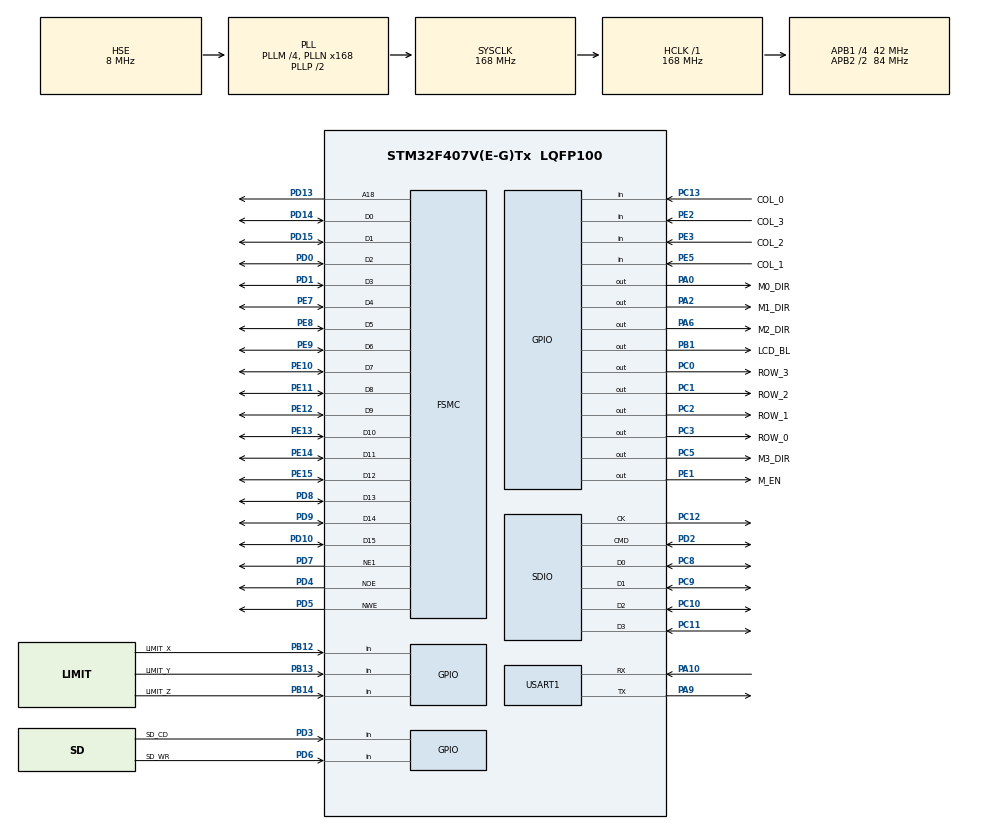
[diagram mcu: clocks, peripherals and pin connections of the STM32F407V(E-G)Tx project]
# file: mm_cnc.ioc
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FATFS.BSP.number=1
FATFS0.BSP.STBoard=false
FATFS0.BSP.api=Unknown
FATFS0.BSP.i2caddr=0
FATFS0.BSP.instance=PD3
FATFS0.BSP.ip=GPIO
FATFS0.BSP.mode=Input
FATFS0.BSP.name=Detect_SDIO
FATFS0.BSP.solution=PD3
Mcu.Family=STM32F4
Mcu.Name=STM32F407V(E-G)Tx
Mcu.Package=LQFP100
NVIC.PriorityGroup=NVIC_PRIORITYGROUP_4
NVIC.RCC_IRQn=true\:0\:0\:false\:false\:true\:true\:false
NVIC.SDIO_IRQn=true\:0\:0\:false\:false\:true\:true\:true
NVIC.TIM2_IRQn=true\:0\:0\:false\:false\:true\:true\:true
NVIC.TIM3_IRQn=true\:0\:0\:false\:false\:true\:true\:true
NVIC.TIM4_IRQn=true\:0\:0\:false\:false\:true\:true\:true
NVIC.TIM5_IRQn=true\:0\:0\:false\:false\:true\:true\:true
NVIC.USART1_IRQn=true\:0\:0\:false\:false\:true\:true\:true
PA0-WKUP.GPIO_Label=M0_DIR
PA0-WKUP.Signal=GPIO_Output
PA1.GPIO_Label=M0_STEP
PA1.Signal=S_TIM5_CH2
PA10.Mode=Asynchronous
PA10.Signal=USART1_RX
PA13.Mode=JTAG_5_pins
PA13.Signal=SYS_JTMS-SWDIO
PA14.Mode=JTAG_5_pins
PA14.Signal=SYS_JTCK-SWCLK
PA15.Mode=JTAG_5_pins
PA15.Signal=SYS_JTDI
PA2.GPIO_Label=M1_DIR
PA2.Signal=GPIO_Output
PA3.GPIO_Label=M1_STEP
PA3.Signal=S_TIM9_CH2
PA6.GPIO_Label=M2_DIR
PA6.GPIO_PuPd=GPIO_NOPULL
PA6.PinState=GPIO_PIN_RESET
PA6.Signal=GPIO_Output
PA7.GPIO_Label=M2_STEP
PA7.Signal=S_TIM14_CH1
PA9.Mode=Asynchronous
PA9.Signal=USART1_TX
PB0.GPIO_Label=M3_STEP
PB0.Signal=S_TIM3_CH3
PB1.GPIO_Label=LCD_BL
PB1.GPIO_PuPd=GPIO_PULLUP
PB1.GPIO_Speed=GPIO_SPEED_FREQ_MEDIUM
PB1.PinState=GPIO_PIN_SET
PB1.Signal=GPIO_Output
PB12.GPIO_Label=LIMIT_X
PB12.GPIO_PuPd=GPIO_PULLDOWN
PB12.Signal=GPIO_Input
PB13.GPIO_Label=LIMIT_Y
PB13.GPIO_PuPd=GPIO_PULLDOWN
PB13.Signal=GPIO_Input
PB14.GPIO_Label=LIMIT_Z
PB14.GPIO_PuPd=GPIO_PULLDOWN
PB14.Signal=GPIO_Input
PB3.Mode=JTAG_5_pins
PB3.Signal=SYS_JTDO-SWO
PB4.Mode=JTAG_5_pins
PB4.Signal=SYS_JTRST
PC0.GPIO_Label=ROW_3
PC0.Signal=GPIO_Output
PC1.GPIO_Label=ROW_2
PC1.Signal=GPIO_Output
PC10.Mode=SD_4_bits_Wide_bus
PC10.Signal=SDIO_D2
PC11.Mode=SD_4_bits_Wide_bus
PC11.Signal=SDIO_D3
PC12.Mode=SD_4_bits_Wide_bus
PC12.Signal=SDIO_CK
PC13-ANTI_TAMP.GPIO_Label=COL_0
PC13-ANTI_TAMP.GPIO_PuPd=GPIO_PULLDOWN
PC13-ANTI_TAMP.Signal=GPIO_Input
PC14-OSC32_IN.Mode=LSE-External-Oscillator
PC14-OSC32_IN.Signal=RCC_OSC32_IN
PC15-OSC32_OUT.Mode=LSE-External-Oscillator
PC15-OSC32_OUT.Signal=RCC_OSC32_OUT
PC2.GPIO_Label=ROW_1
PC2.Signal=GPIO_Output
PC3.GPIO_Label=ROW_0
PC3.Signal=GPIO_Output
PC5.GPIO_Label=M3_DIR
PC5.Signal=GPIO_Output
PC8.Mode=SD_4_bits_Wide_bus
PC8.Signal=SDIO_D0
PC9.Mode=SD_4_bits_Wide_bus
PC9.Signal=SDIO_D1
PD0.Mode=16b-d1
PD0.Signal=FSMC_D2
PD1.Mode=16b-d1
PD1.Signal=FSMC_D3
PD10.Mode=16b-d1
PD10.Signal=FSMC_D15
PD13.Mode=A18_1
PD13.Signal=FSMC_A18
PD14.Mode=16b-d1
PD14.Signal=FSMC_D0
PD15.Mode=16b-d1
PD15.Signal=FSMC_D1
PD2.Mode=SD_4_bits_Wide_bus
PD2.Signal=SDIO_CMD
PD3.GPIO_Label=SD_CD
PD3.GPIO_PuPd=GPIO_PULLDOWN
PD3.Signal=GPIO_Input
PD4.Mode=Lcd1
PD4.Signal=FSMC_NOE
PD5.Mode=Lcd1
PD5.Signal=FSMC_NWE
PD6.GPIO_Label=SD_WR
PD6.Signal=GPIO_Input
PD7.Mode=NorPsramChipSelect1_1
PD7.Signal=FSMC_NE1
PD8.Mode=16b-d1
PD8.Signal=FSMC_D13
PD9.Mode=16b-d1
PD9.Signal=FSMC_D14
PE1.GPIO_Label=M_EN
PE1.Signal=GPIO_Output
PE10.Mode=16b-d1
PE10.Signal=FSMC_D7
PE11.Mode=16b-d1
PE11.Signal=FSMC_D8
PE12.Mode=16b-d1
PE12.Signal=FSMC_D9
PE13.Mode=16b-d1
PE13.Signal=FSMC_D10
PE14.Mode=16b-d1
PE14.Signal=FSMC_D11
PE15.Mode=16b-d1
PE15.Signal=FSMC_D12
PE2.GPIO_Label=COL_3
PE2.GPIO_PuPd=GPIO_PULLDOWN
PE2.Signal=GPIO_Input
PE3.GPIO_Label=COL_2
PE3.GPIO_PuPd=GPIO_PULLDOWN
PE3.Signal=GPIO_Input
PE5.GPIO_Label=COL_1
PE5.GPIO_PuPd=GPIO_PULLDOWN
PE5.Signal=GPIO_Input
PE7.Mode=16b-d1
PE7.Signal=FSMC_D4
PE8.Mode=16b-d1
PE8.Signal=FSMC_D5
PE9.Mode=16b-d1
PE9.Signal=FSMC_D6
PH0-OSC_IN.Mode=HSE-External-Oscillator
PH0-OSC_IN.Signal=RCC_OSC_IN
PH1-OSC_OUT.Mode=HSE-External-Oscillator
PH1-OSC_OUT.Signal=RCC_OSC_OUT
ProjectManager.HeapSize=0x200
ProjectManager.StackSize=0x400
ProjectManager.TargetToolchain=STM32CubeIDE
RCC.48MHZClocksFreq_Value=48000000
RCC.AHBFreq_Value=168000000
RCC.APB1CLKDivider=RCC_HCLK_DIV4
RCC.APB1Freq_Value=42000000
RCC.APB1TimFreq_Value=84000000
RCC.APB2CLKDivider=RCC_HCLK_DIV2
RCC.APB2Freq_Value=84000000
RCC.APB2TimFreq_Value=168000000
RCC.CortexFreq_Value=168000000
RCC.HCLKFreq_Value=168000000
RCC.HSE_VALUE=8000000
RCC.HSI_VALUE=16000000
RCC.PLLM=4
RCC.PLLN=168
RCC.PLLQ=7
RCC.PLLSourceVirtual=RCC_PLLSOURCE_HSE
RCC.SYSCLKFreq_VALUE=168000000
RCC.SYSCLKSource=RCC_SYSCLKSOURCE_PLLCLK
RCC.VCOOutputFreq_Value=336000000
RTC.Month=RTC_MONTH_OCTOBER
RTC.WeekDay=RTC_WEEKDAY_TUESDAY
RTC.Year=19
SH.S_TIM14_CH1.0=TIM14_CH1
SH.S_TIM3_CH3.0=TIM3_CH3
SH.S_TIM5_CH2.0=TIM5_CH2
SH.S_TIM9_CH2.0=TIM9_CH2
TIM2.AutoReloadPreload=TIM_AUTORELOAD_PRELOAD_ENABLE
TIM2.Period=100
TIM2.Prescaler=1799
TIM3.AutoReloadPreload=TIM_AUTORELOAD_PRELOAD_ENABLE
TIM3.Period=100
TIM3.Prescaler=1799
TIM4.AutoReloadPreload=TIM_AUTORELOAD_PRELOAD_ENABLE
TIM4.Period=100
TIM4.Prescaler=1799
TIM5.AutoReloadPreload=TIM_AUTORELOAD_PRELOAD_ENABLE
TIM5.Period=100
TIM5.Prescaler=1799
USART1.VirtualMode=VM_ASYNC
VP_FATFS_VS_SDIO.Mode=SDIO
VP_RTC_VS_RTC_Activate.Mode=RTC_Enabled
VP_RTC_VS_RTC_Calendar.Mode=RTC_Calendar
VP_TIM2_VS_ClockSourceINT.Mode=Internal
VP_TIM3_VS_ClockSourceINT.Mode=Internal
VP_TIM4_VS_ClockSourceINT.Mode=Internal
VP_TIM5_VS_ClockSourceINT.Mode=Internal
board=custom

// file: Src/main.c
/* USER CODE BEGIN Header */
/**
  ******************************************************************************
  * @file           : main.c
  * @brief          : Main program body
  ******************************************************************************
  * @attention
  *
  * <h2><center>&copy; Copyright (c) 2019 STMicroelectronics.
  * All rights reserved.</center></h2>
  *
  * This software component is licensed by ST under BSD 3-Clause license,
  * the "License"; You may not use this file except in compliance with the
  * License. You may obtain a copy of the License at:
  *                        opensource.org/licenses/BSD-3-Clause
  *
  ******************************************************************************
  */
/* USER CODE END Header */

#include "main.h"
#include "fatfs.h"
#include "rtc.h"
#include "sdio.h"
#include "tim.h"
#include "usart.h"
#include "gpio.h"
#include "fsmc.h"

/* USER CODE BEGIN Includes */
#include <string.h>
#include "global.h"
/* USER CODE END Includes */

/* USER CODE BEGIN PD */
#define CONF_FILE_NAME "sm.conf"

#define MAX_FILE_LIST_SZ 256
#define MAX_FILE_NAME_SZ 80

#define FILE_LIST_ROWS 8
#define L_LED_X 286
#define L_LED_Y 226
#define L_LED_W 6
#define L_LED_H 7
/* USER CODE END PD */

/* USER CODE BEGIN PV */
static char fileList[MAX_FILE_LIST_SZ][MAX_FILE_NAME_SZ], loadedFileName[MAX_FILE_NAME_SZ];
static int fileListSz = 0, curFile = 0, firstFileInWin = 0;
static FATFS fatfs;
//FLASH_VALUES commonValues;

uint8_t usb_sts = 0; // TODO переделать когда будет usb
/* USER CODE END PV */

void SystemClock_Config(void);

/* USER CODE BEGIN 0 */
char *str_trim(char *str) {
	for(int n = 0; str[n] != 0; n++) {
		if(str[n] == '\n' || str[n] == '\r') {
			str[n] = 0; break;
		}
	}
	return str;
}

static void initSmParam(int8_t isSaveFile) {
	_smParam.smoothStartF_from0[0] = SM_SMOOTH_START_X*K_FRQ;
	_smParam.smoothStartF_from0[1] = SM_SMOOTH_START_Y*K_FRQ;
	_smParam.smoothStartF_from0[2] =  SM_SMOOTH_START_Z*K_FRQ;
	_smParam.smoothStopF_to0[0] = SM_SMOOTH_STOP_X*K_FRQ;
	_smParam.smoothStopF_to0[1] = SM_SMOOTH_STOP_Y*K_FRQ;
	_smParam.smoothStopF_to0[2] = SM_SMOOTH_STOP_Z*K_FRQ;
	_smParam.smoothAF[0]= SM_SMOOTH_DFEED_X*SM_X_STEPS_PER_MM*SM_SMOOTH_TFEED*K_FRQ/1000;
	_smParam.smoothAF[1]= SM_SMOOTH_DFEED_Y*SM_Y_STEPS_PER_MM*SM_SMOOTH_TFEED*K_FRQ/1000;
	_smParam.smoothAF[2]= SM_SMOOTH_DFEED_Z*SM_Z_STEPS_PER_MM*SM_SMOOTH_TFEED/1000*K_FRQ;
	_smParam.maxFeedRate[0] = SM_X_MAX_STEPS_PER_SEC*K_FRQ;
	_smParam.maxFeedRate[1] = SM_Y_MAX_STEPS_PER_SEC*K_FRQ;
	_smParam.maxFeedRate[2] = SM_Z_MAX_STEPS_PER_SEC*K_FRQ;
	_smParam.maxSpindleTemperature = MAX_SPINDEL_TEMPERATURE;
	FIL fid;
	FRESULT fres = f_open(&fid, CONF_FILE_NAME, FA_READ);
	char str[256], *p;
	if(fres == FR_OK) {
		scr_printf("\n loading %s", CONF_FILE_NAME);
		for(int i = 0; i < 3; i++) {
			scr_puts(".");
			if(f_gets(str, sizeof(str), &fid) == NULL) break;
			DBG("\nc:%d:'%s'", i, str);
			if(f_gets(str, sizeof(str), &fid) == NULL) break;
			DBG("\nd:%d:'%s'", i, str);
			p = str;
			_smParam.smoothStartF_from0[i] = strtod_M(p, &p);
			_smParam.smoothStopF_to0[i] = strtod_M(p, &p);
			_smParam.smoothAF[i] = strtod_M(p, &p);
			_smParam.maxFeedRate[i] = strtod_M(p, &p);
		}
		if(f_gets(str, sizeof(str), &fid) != NULL) {
			DBG("t:'%s'", str);
			if(f_gets(str, sizeof(str), &fid) != NULL) _smParam.maxSpindleTemperature = strtod_M(str, &p);
		}
		scr_puts("*");
		f_close(&fid);
		scr_puts(" OK");
	}
	if(!isSaveFile) return;
	//--------------------------------------
	f_unlink(CONF_FILE_NAME);
	if((fres = f_open(&fid, CONF_FILE_NAME, FA_CREATE_ALWAYS | FA_WRITE)) != FR_OK) {
		win_showErrorWin();
		scr_printf("Error save file:'%s'\n Status:%d", CONF_FILE_NAME, fres);
		scr_puts("\n\n\t PRESS C-KEY");
		while(kbd_getKey() != KEY_C);
		return;
	}

	scr_printf("\n save into %s", CONF_FILE_NAME);
	for(int i = 0; i < 3; i++) {
		f_printf(&fid, "Crd%d (F:steps*%d/sec): 'smoothStartF_from0,smoothStopF_to0,smoothAF,maxFeedRate\n", i, K_FRQ);
		f_printf(&fid, "%d,%d,%d,%d,%d\n",_smParam.smoothStartF_from0[i],_smParam.smoothStopF_to0[i],_smParam.smoothAF[i],_smParam.maxFeedRate[i]);
		scr_puts(".");
	}
	f_printf(&fid, "Spindle switch-off temperature (C.degree)\n");
	f_printf(&fid, "%d\n", _smParam.maxSpindleTemperature);
	scr_puts("*");
	f_close(&fid);
	scr_puts(" OK");
	scr_gotoxy(2,4);
	scr_puts("CURRENT CONFIGURATION SAVED");
}

static void showStatusString(void) {
	static uint8_t sec = 0, limits = 0xff;
	HAL_RTC_GetTime(&hrtc, &RTC_TimeStructure, RTC_FORMAT_BIN);
	HAL_RTC_GetDate(&hrtc, &RTC_DateStructure, RTC_FORMAT_BIN);

	if(ts_sec != sec) {
		scr_setfullTextWindow();
		scr_gotoxy(1,TEXT_Y_MAX-1);
		scr_fontColor(White,Black);
		scr_printf("%02d.%02d.%02d %02d:%02d:%02d  %s", ts_mday, ts_month, ts_year, ts_hour, ts_min, ts_sec, usb_sts ? "USB" : "   ");
		sec = ts_sec;
		limits = 0xff;
		//if(!(SD_CD_PORT->IDR & SD_CD_PIN)) COOLANT_PORT->BSRRL = COOLANT_PIN; else COOLANT_PORT->BSRRH = COOLANT_PIN;
		//if((SD_WP_PORT->IDR & SD_WP_PIN)) SPINDLE_PWM_PORT->BSRRL = SPINDLE_PWM_PIN; else SPINDLE_PWM_PORT->BSRRH = SPINDLE_PWM_PIN;
	}
	if(limits != limits_chk()) {
		limits = limits_chk();
		GUI_Rectangle(L_LED_X,                   L_LED_Y,     L_LED_X + L_LED_W * 4 + 4, L_LED_Y + L_LED_H + 2, Grey, TRUE);
		GUI_Rectangle(L_LED_X + L_LED_W * 1 + 2, L_LED_Y + 1, L_LED_X + L_LED_W * 2 + 1, L_LED_Y + L_LED_H + 1, limitX_chk()? Red:Green, TRUE);
		GUI_Rectangle(L_LED_X + L_LED_W * 2 + 3, L_LED_Y + 1, L_LED_X + L_LED_W * 3 + 2, L_LED_Y + L_LED_H + 1, limitY_chk()? Red:Green, TRUE);
		GUI_Rectangle(L_LED_X + L_LED_W * 3 + 4, L_LED_Y + 1, L_LED_X + L_LED_W * 4 + 3, L_LED_Y + L_LED_H + 1, limitZ_chk()? Red:Green, TRUE);
	}
}

void showCriticalStatus(char *msg, int st) {
	win_showErrorWin();
	scr_gotoxy(2, 2);
	scr_printf(msg, st);
	while(1);
}

static void readFileList(void) {
	FRESULT fres;
	FILINFO finfo;
	DIR dirs;

	win_showMsgWin();
	scr_gotoxy(2, 0);
	scr_printf("Open SD dir.. ");
	char path[50]={""};
	if((fres = f_opendir(&dirs, path)) != FR_OK) showCriticalStatus(" f_opendir()\n  error [code:%d]\n  Only RESET possible at now", fres);
	scr_puts("\nRead file list from SD");
	static char lfn[_MAX_LFN + 1];
//	finfo.fname = lfn; TODO
	finfo.fsize = sizeof(lfn);
	for(fileListSz = 0; f_readdir(&dirs, &finfo) == FR_OK && fileListSz < MAX_FILE_LIST_SZ;) {
		scr_gotoxy(0, 3);
		scr_printf("files:[%d]", fileListSz);
		if(!finfo.fname[0]) break;
		if(finfo.fname[0] == '.') continue;
		if(!(finfo.fattrib & AM_DIR) && strcmp(CONF_FILE_NAME, *finfo.fname? finfo.fname:finfo.fname) != 0) {
			strncpy(&fileList[fileListSz++][0], *finfo.fname? finfo.fname:finfo.fname, MAX_FILE_NAME_SZ);
		}
	}
	if(loadedFileName[0] != 0) { // set last loaded file as selected file
		scr_printf("\nselect:'%s'..", loadedFileName);
			for(int i = 0; i < fileListSz; i++) {
				if(!strcmp(&fileList[i][0], &loadedFileName[0])) {
					loadedFileName[0] = 0; // reset for next dir reload
					curFile = i;
					if(curFile < FILE_LIST_ROWS) firstFileInWin = 0;
					else if((fileListSz - curFile) < FILE_LIST_ROWS) firstFileInWin = fileListSz-FILE_LIST_ROWS;
							else firstFileInWin = curFile;
					break;
				}
			}
		scr_printf("\npos in win/cur file:%d/%d", firstFileInWin, curFile);
	}
	scr_puts("\n         ---- OK -----");
}

static void drawFileList(void) {
	if(curFile >= fileListSz) curFile = 0;
	if(curFile < 0) curFile = fileListSz-1;
	if((firstFileInWin+curFile) >= FILE_LIST_ROWS) firstFileInWin=curFile-FILE_LIST_ROWS+1;
	if(firstFileInWin > curFile) firstFileInWin = curFile;
	if(firstFileInWin < 0) firstFileInWin = 0;
	//win_showMenuScroll(16, 0,	36, FILE_LIST_ROWS, firstFileInWin, curFile, fileListSz);
	win_showMenuScroll(8, 0,	36, FILE_LIST_ROWS, firstFileInWin, curFile, fileListSz);
	for(int i = 0; i < fileListSz; i++) {
		if(i == curFile) scr_fontColorInvers();
		else scr_fontColorNormal();
		scr_printf("%s\n", &fileList[i][0]);
	}
}

uint8_t questionYesNo(char *msg, char *param) {
	win_showMsgWin();
	scr_printf(msg, param);
	scr_gotoxy(5,6); scr_puts("[D] - OK,  [C] - Cancel");
	while(TRUE) {
		switch(kbd_getKey()) {
			case KEY_D: return TRUE;
			case KEY_C: return FALSE;
		}
	}
	return FALSE;
}

static void setTime(void) {
	int c = -1, pos = 0, v = 0;
	win_showMsgWin();
	scr_setScrollOn(FALSE);
	HAL_RTC_GetTime(&hrtc, &RTC_TimeStructure, RTC_FORMAT_BIN);
	HAL_RTC_GetDate(&hrtc, &RTC_DateStructure, RTC_FORMAT_BIN);
	scr_puts("D-ENTER C-CANCEL A-Up B-Down");
	scr_puts("\n'*' -Left '#' -RIGHT");
	scr_printf("\n\nTime: %02d.%02d.%02d %02d:%02d:%02d", ts_mday, ts_month, ts_year/*-2000*/, ts_hour, ts_min, ts_sec);
	do {
		if(c == KEY_STAR) pos = pos <= 0? 5:pos-1;  // fix kolyat
		if(c == KEY_DIES) pos = pos >= 5? 0:pos+1;
		switch(pos) {
			case 0:
				v = ts_mday;
				break;
			case 1:
				v = ts_month;
				break;
			case 2:
				v = ts_year;//-2000;
				break;
			case 3:
				v = ts_hour;
				break;
			case 4:
				v = ts_min;
				break;
			case 5:
				v = ts_sec;
				break;
		}
		//if(c == KEY_STAR) pos = pos <= 0? 5:pos-1;  // fix kolyat
		//if(c == KEY_DIES) pos = pos >= 5? 0:pos+1;
		scr_gotoxy(0,4);
		scr_fontColorNormal();
		scr_printf(" New: %02d.%02d.%02d %02d:%02d:%02d", ts_mday, ts_month, ts_year/*-2000*/, ts_hour, ts_min, ts_sec);
		scr_fontColorInvers();
		scr_gotoxy(pos*3+6,4); //scr_gotoxy(pos*3+6,3); // fix kolyat
		scr_printf("%02d", v);
		while((c = kbd_getKey()) < 0);
		if(c == KEY_A) v++;
		if(c == KEY_B) v--;
		switch(pos) {
			case 0:
				if(v >= 1 && v <= 31)  ts_mday = v;
				break;
			case 1:
				if(v >= 1 && v <= 12)  ts_month = v;
				break;
			case 2:
				if(v >= 12 && v <= 30) ts_year = v;//+2000;
				break;
			case 3:
				if(v >= 0 && v <= 23)  ts_hour = v;
				break;
			case 4:
				if(c >= 0 && v <= 59)  ts_min = v;
				break;
			case 5:
				if(v >= 0 && v <= 59)  ts_sec = v;
				break;
		}
	} while(c != KEY_C && c != KEY_D);
	if(c == KEY_D){
		HAL_RTC_SetTime(&hrtc, &RTC_TimeStructure, RTC_FORMAT_BIN);
		HAL_RTC_SetDate(&hrtc, &RTC_DateStructure, RTC_FORMAT_BIN);
	}
}
/* USER CODE END 0 */

int main(void)
{

  /* MCU Configuration--------------------------------------------------------*/

  /* Reset of all peripherals, Initializes the Flash interface and the Systick. */
  HAL_Init();

  /* Configure the system clock */
  SystemClock_Config();

  /* Initialize all configured peripherals */
  MX_GPIO_Init();
  MX_RTC_Init();
  MX_FSMC_Init();
  MX_SDIO_SD_Init();
  MX_TIM2_Init();
  MX_TIM3_Init();
  MX_TIM4_Init();
  MX_TIM5_Init();
  MX_FATFS_Init();
  MX_USART1_UART_Init();
  /* USER CODE BEGIN 2 */
  SystemStartup();
  FRESULT fres;
  fres = f_mount(&fatfs, "", 1);
  if(fres != FR_OK ) showCriticalStatus(" Mount SD error [code:%d]\nSD card used for any CNC process   Only RESET possible at now", fres);
  initSmParam(FALSE);
  scr_puts("\n         ---- OK -----");
  #ifdef SHOW_INIT_SCR
  	  scr_puts("\n\n\n\nPRESS [D] KEY FOR CONTINUE");
  	  scr_waitKey(KEY_D);
  #endif
  uint8_t rereadDir = TRUE, redrawScr = TRUE, redrawDir = TRUE;
  /* USER CODE END 2 */

  /* Infinite loop */
  /* USER CODE BEGIN WHILE */
  while (1)
  {
	  char str[150];
	  if (rereadDir) {
		  readFileList();
		  redrawScr = TRUE;
		  rereadDir = FALSE;
	  }
	  // ---------------------
	  if (redrawScr) {
		  redrawScr = FALSE;
		  LCD_Clear(0);
		  win_showMenu(8,144,37,4); //win_showMenu(18,144,36,4);
		  scr_puts(
				  "0 - start gcode\t   1 - manual mode\n"
				  "2 - show gcode\t   3 - delete file\n"
				  "4 - set time\t   5 - file info\n"
				  "6 - refresh dir\t   7 - save config");
		  redrawDir = TRUE;
	  }

	  if (redrawDir) {
		  redrawDir = FALSE;
		  drawFileList();
	  }
	  // ---------------------
	  showStatusString();
	  // ---------------------
	  switch(kbd_getKey()) {
	  			//------------------------------------------
	  			case KEY_A:
	  				curFile--;
	  				redrawDir = TRUE;
	  				break;
	  			//------------------------------------------
	  			case KEY_B:
	  				curFile++;
	  				redrawDir = TRUE;
	  				break;
	  			//------------------------------------------
	  			case KEY_STAR:
	  				curFile+=FILE_LIST_ROWS;
	  				redrawDir = TRUE;
	  				break;
	  			//------------------------------------------
	  			case KEY_DIES:
	  				curFile-=FILE_LIST_ROWS;
	  				redrawDir = TRUE;
	  				break;
	  			//------------------------------------------
	  			case KEY_0:
	  				while(kbd_getKey() != -1);
	  				uint32_t stime = RTC_GetCounter();
	  				cnc_gfile(&fileList[curFile][0], GFILE_MODE_MASK_EXEC);
	  				while(stepm_inProc()) {
	  					scr_fontColor(Yellow,Blue);
	  					scr_gotoxy(0,13);
	  					scr_printf(" remain moves: %d", stepm_getRemainLines());
	  					scr_clrEndl();
	  				}
	  				stepm_EmergeStop();
	  				scr_fontColor(White,Black);
	  				scr_gotoxy(30,12);
	  				scr_clrEndl();
	  				scr_fontColor(Yellow,Blue);
	  				stime = RTC_GetCounter() - stime;
	  				scr_fontColor(Yellow,Blue);
	  				scr_gotoxy(0,13);
	  				scr_printf("      FINISH. Work time: %02d:%02d:%02d", stime/3600, (stime/60)%60, stime%60);
	  				scr_clrEndl();
	  				scr_gotoxy(0,14);
	  				scr_puts("             PRESS [C] KEY");
	  				scr_clrEndl();
	  				scr_gotoxy(26,14);
	  				while(kbd_getKey() != -1);
	  				_delay_ms(300);
	  				scr_waitKey(KEY_C);
	  				redrawScr = TRUE;
	  				break;
	  			//------------------------------------------
	  			case KEY_1:
	  				manualMode();
	  				redrawScr = TRUE;
	  				break;
	  			//------------------------------------------
	  			case KEY_2:
	  				while(kbd_getKey() != -1);
	  				cnc_gfile(&fileList[curFile][0], GFILE_MODE_MASK_SHOW|GFILE_MODE_MASK_CHK);
	  				scr_printf("\n             PRESS [C] KEY");
	  				while(kbd_getKey() != -1);
	  				scr_waitKey(KEY_C);
	  				redrawScr = TRUE;
	  				break;
	  			//------------------------------------------
	  			case KEY_3:
	  				if(HAL_GPIO_ReadPin(SD_WR_GPIO_Port, SD_WR_Pin) == GPIO_PIN_SET) {
	  					if(questionYesNo("Delete file:\n'%s'?", &fileList[curFile][0])) {
	  						rereadDir = TRUE;
	  						f_unlink(&fileList[curFile][0]);
	  					} else redrawScr = TRUE;
	  				} else {
	  					win_showMsgWin();
	  					scr_gotoxy(6,2);
	  					scr_puts("CARD WRITE PROTECTED");
	  					scr_gotoxy(9,5);
	  					scr_puts("PRESS [C] KEY");
	  					scr_waitKey(KEY_C);
	  					redrawScr = TRUE;
	  				}
	  				break;
	  			//------------------------------------------
	  			case KEY_4:
	  				setTime();
	  				redrawScr = TRUE;
	  				break;
	  			//------------------------------------------
	  			case KEY_5: {
	  				FILINFO finf;
	  				memset(&finf, 0, sizeof(finf));
	  				win_showMsgWin();
	  				scr_setScrollOn(FALSE);
	  				scr_printf("file:'%s'", &fileList[curFile][0]);
	  				f_stat(&fileList[curFile][0], &finf);
	  				scr_gotoxy(0, 1);
	  				scr_printf("File size:%d\n", (uint32_t)finf.fsize);
	  				FIL fid;
	  				FRESULT fres = f_open(&fid, &fileList[curFile][0], FA_READ);
	  				if(fres != FR_OK) {
	  					scr_printf("Error open file: '%s'\nStatus:%d", &fileList[curFile][0], fres);
	  				} else {
	  					scr_fontColorInvers();
	  					scr_setScrollOn(FALSE);
	  					for(int n = 2; n < 7 && f_gets(str, sizeof(str), &fid) != NULL; n++) {
	  						scr_gotoxy(0, n);
	  						scr_puts(str_trim(str));
	  					}
	  				}
	  				scr_fontColorNormal();
	  				scr_gotoxy(8, 7);
	  				scr_printf("PRESS C-KEY");
	  				redrawScr = TRUE;
	  				int c;
	  				do {
	  					c = kbd_getKey();
	  					if(c == KEY_B) {
	  						scr_fontColorInvers();
	  						for(int n = 2; n < 7 && f_gets(str, sizeof(str), &fid) != NULL; n++) {
	  							scr_gotoxy(0, n);
	  							scr_puts(str_trim(str));
	  							scr_clrEndl();
	  						}
	  					}
	  				} while(c != KEY_C);
	  				f_close(&fid);
	  				rereadDir = TRUE;
	  			}
	  				break;
	  			//------------------------------------------
	  			case KEY_6:
	  				rereadDir = TRUE;
	  				break;
	  			//------------------------------------------
	  			case KEY_7:
	  				win_showMsgWin();
	  				if(HAL_GPIO_ReadPin(SD_WR_GPIO_Port, SD_WR_Pin) == GPIO_PIN_SET) {
	  					initSmParam(true);
	  				} else {
	  					scr_gotoxy(6,2);
	  					scr_puts("CARD WRITE PROTECTED");
	  				}
	  				scr_gotoxy(9,6);
	  				scr_puts("PRESS [C] KEY");
	  				scr_waitKey(KEY_C);
	  				redrawScr = TRUE;
	  				break;
	  		}
    /* USER CODE END WHILE */

  }
}

void SystemClock_Config(void)
{
  RCC_OscInitTypeDef RCC_OscInitStruct = {0};
  RCC_ClkInitTypeDef RCC_ClkInitStruct = {0};
  RCC_PeriphCLKInitTypeDef PeriphClkInitStruct = {0};

  /** Configure the main internal regulator output voltage
  */
  __HAL_RCC_PWR_CLK_ENABLE();
  __HAL_PWR_VOLTAGESCALING_CONFIG(PWR_REGULATOR_VOLTAGE_SCALE1);
  /** Initializes the CPU, AHB and APB busses clocks
  */
  RCC_OscInitStruct.OscillatorType = RCC_OSCILLATORTYPE_LSI|RCC_OSCILLATORTYPE_HSE;
  RCC_OscInitStruct.HSEState = RCC_HSE_ON;
  RCC_OscInitStruct.LSIState = RCC_LSI_ON;
  RCC_OscInitStruct.PLL.PLLState = RCC_PLL_ON;
  RCC_OscInitStruct.PLL.PLLSource = RCC_PLLSOURCE_HSE;
  RCC_OscInitStruct.PLL.PLLM = 4;
  RCC_OscInitStruct.PLL.PLLN = 168;
  RCC_OscInitStruct.PLL.PLLP = RCC_PLLP_DIV2;
  RCC_OscInitStruct.PLL.PLLQ = 7;
  if (HAL_RCC_OscConfig(&RCC_OscInitStruct) != HAL_OK)
  {
    Error_Handler();
  }
  /** Initializes the CPU, AHB and APB busses clocks
  */
  RCC_ClkInitStruct.ClockType = RCC_CLOCKTYPE_HCLK|RCC_CLOCKTYPE_SYSCLK
                              |RCC_CLOCKTYPE_PCLK1|RCC_CLOCKTYPE_PCLK2;
  RCC_ClkInitStruct.SYSCLKSource = RCC_SYSCLKSOURCE_PLLCLK;
  RCC_ClkInitStruct.AHBCLKDivider = RCC_SYSCLK_DIV1;
  RCC_ClkInitStruct.APB1CLKDivider = RCC_HCLK_DIV4;
  RCC_ClkInitStruct.APB2CLKDivider = RCC_HCLK_DIV2;

  if (HAL_RCC_ClockConfig(&RCC_ClkInitStruct, FLASH_LATENCY_5) != HAL_OK)
  {
    Error_Handler();
  }
  PeriphClkInitStruct.PeriphClockSelection = RCC_PERIPHCLK_RTC;
  PeriphClkInitStruct.RTCClockSelection = RCC_RTCCLKSOURCE_LSI;
  if (HAL_RCCEx_PeriphCLKConfig(&PeriphClkInitStruct) != HAL_OK)
  {
    Error_Handler();
  }
}

void Error_Handler(void)
{
}

/************************ (C) COPYRIGHT STMicroelectronics *****END OF FILE****/
